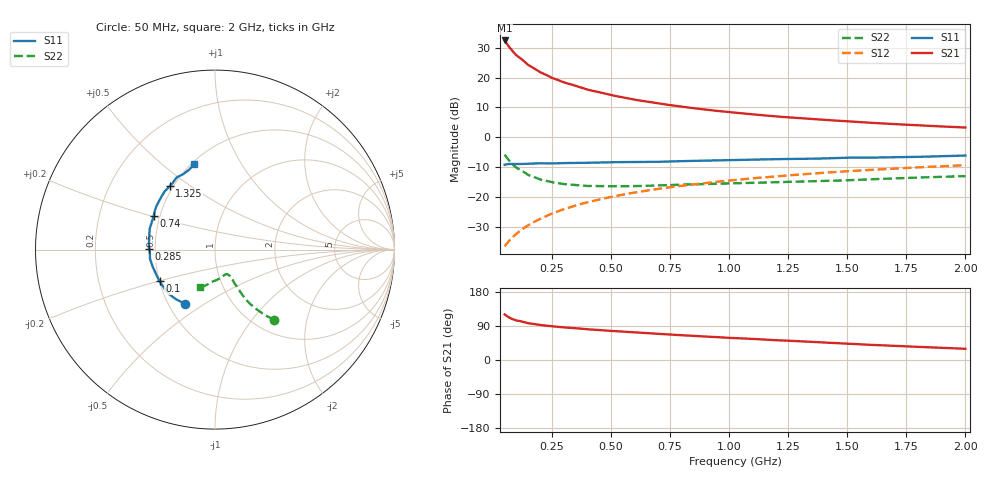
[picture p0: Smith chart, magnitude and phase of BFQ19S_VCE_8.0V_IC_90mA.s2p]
! Infineon Technologies  Discrete & RF Semiconductors
! BFQ19S
! VCE =  8.0 V,  IC =  90 mA
! Common Emitter S-Parameters:  Jan 2016
# GHz  S  MA  R  50
!  f  S11  S21  S12  S22
! GHz  MAG  ANG  MAG  ANG  MAG  ANG  MAG  ANG
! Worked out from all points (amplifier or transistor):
!   391 points, 50 MHz to 2 GHz, reference 50 ohm
!   highest |S21| = 32.4 dB at 50 MHz (marker M1)
!   |S21| within 3 dB of that: start of sweep to 77.62 MHz
!   unconditionally stable (mu >= 1): 199.8 MHz to 1.717 GHz
!   at 375 MHz: K = 1.03, MAG = 18.4 dB, |S12| = -22.4 dB
!   at 1.025 GHz: K = 1.04, MAG = 10.1 dB, |S12| = -14.3 dB
!   at 2 GHz: K = 0.97, MSG = 6.3 dB, |S12| = -9.4 dB
!   S11 on the Smith chart (normalised r, x): 50 MHz: 0.61, -0.42; 100 MHz: 0.50, -0.20; 285 MHz: 0.46, +0.00; 740 MHz: 0.46, +0.21; 1.325 GHz: 0.48, +0.42; 2 GHz: 0.51, +0.65
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0.05  0.3456 -119.0  41.82 120.3  0.0149 67.3  0.5092 -50.0
0.06  0.3518 -128.2  36.52 115.5  0.0165 67.1  0.4495 -53.2
0.07  0.3564 -135.7  32.23 111.8  0.0185 67.7  0.4027 -55.2
0.08  0.3559 -141.0  28.81 108.7  0.0202 68.0  0.3648 -56.9
0.09  0.3544 -146.1  25.97 106.2  0.0222 68.9  0.3338 -58.0
0.1  0.3559 -150.3  23.57 104.2  0.024 70.2  0.308 -58.7
0.15  0.3593 -163.0  16.19 97.0  0.0334 73.0  0.2327 -59.7
0.2  0.3659 -171.7  12.3 92.3  0.0426 74.1  0.1956 -59.9
0.25  0.3628 -177.0  9.898 88.9  0.0523 75.0  0.1757 -60.4
0.285  0.3669 179.7  8.777 87.0  0.059 74.9  0.1672 -60.8
0.3  0.369 178.3  8.3 86.0  0.0619 74.8  0.1636 -61.0
0.375  0.3709 172.0  6.778 82.6  0.0761 74.2  0.1551 -62.7
0.4  0.3725 169.9  6.278 81.1  0.0809 74.0  0.1523 -63.3
0.5  0.3817 163.1  5.075 76.8  0.0996 73.0  0.1502 -66.5
0.6  0.3829 157.9  4.25 72.8  0.1179 71.3  0.1512 -70.3
0.7  0.3865 153.2  3.672 69.0  0.136 70.0  0.1552 -74.1
0.74  0.3903 151.1  3.496 67.6  0.1431 69.3  0.1571 -75.9
1.03  0.4148 137.9  2.562 57.7  0.1927 64.5  0.1694 -86.5
1.325  0.4343 125.6  2.051 48.6  0.241 59.5  0.1805 -95.4
1.35  0.4359 124.5  2.019 47.8  0.2451 59.1  0.1815 -96.0
1.675  0.4589 111.6  1.679 38.0  0.2942 53.5  0.202 -103.5
2  0.4922 103.5  1.452 29.5  0.3396 48.3  0.2225 -111.9
